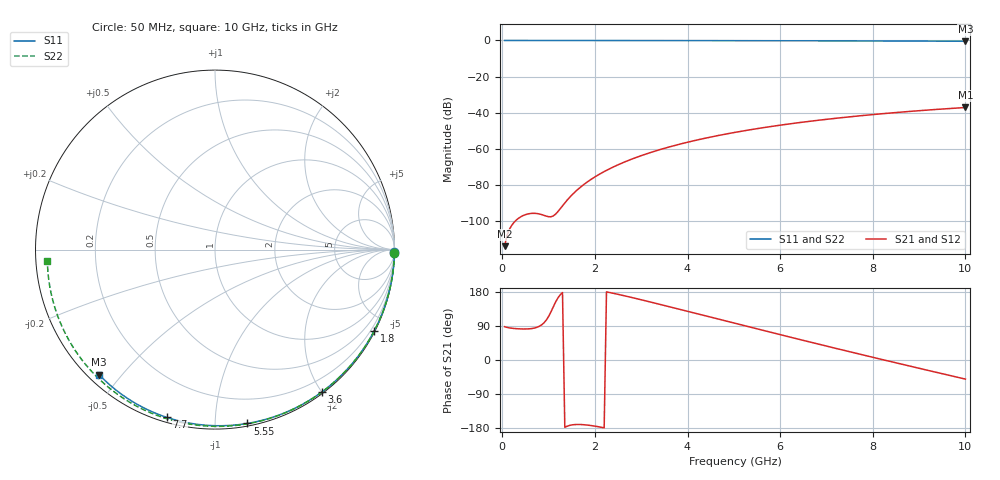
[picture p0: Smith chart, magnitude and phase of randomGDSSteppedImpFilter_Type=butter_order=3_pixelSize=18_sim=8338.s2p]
! freq	dB(S11)	phase(S11)	dB(S12)	phase(S12)
!  dB(S21)	phase(S21)	dB(S22)	phase(S22)
!S-par simulation data
#  GHz  S  DB  R 50
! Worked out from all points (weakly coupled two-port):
!   200 points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, 50 MHz to 10 GHz, reference 50 ohm
!   highest |S21| = -37.11 dB at 10 GHz (marker M1); lowest = -113.9 dB at 50 MHz (marker M2)
!   lowest |S11| = -0.4 dB at 10 GHz (marker M3), VSWR 38.79, Z = 1.54 - j21.9 ohm
!   |S11| at or under -10 dB: nowhere
!   |S22| runs from -0.6 to 0.0 dB; largest |S21 - S12| = 0
!   S11 on the Smith chart (normalised r, x): 50 MHz: open; 1.8 GHz: 0.04, -4.13; 3.6 GHz: 0.02, -2.00; 5.55 GHz: 0.02, -1.20; 7.7 GHz: 0.02, -0.75; 10 GHz: 0.03, -0.44
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0.05  -0.00 -0.8  -113.86 87.9  -113.86 87.9  -0.00 -1.0
0.45  -0.01 -6.9  -96.93 81.8  -96.93 81.8  -0.01 -9.1
0.85  -0.02 -13.0  -96.37 92.8  -96.37 92.8  -0.02 -17.2
1.3  -0.02 -19.8  -91.51 178.0  -91.51 178.0  -0.03 -26.1
1.75  -0.03 -26.5  -79.93 -170.7  -79.93 -170.7  -0.04 -35.0
1.8  -0.03 -27.2  -78.97 -171.2  -78.97 -171.2  -0.05 -35.9
1.95  -0.04 -29.4  -76.33 -173.6  -76.33 -173.6  -0.05 -38.9
2.1  -0.04 -31.6  -73.99 -176.6  -73.99 -176.6  -0.05 -41.8
2.3  -0.04 -34.6  -71.24 178.6  -71.24 178.6  -0.06 -45.6
2.5  -0.05 -37.5  -68.81 173.3  -68.81 173.3  -0.06 -49.4
2.9  -0.06 -43.3  -64.67 161.9  -64.67 161.9  -0.07 -56.9
3.4  -0.07 -50.4  -60.45 146.9  -60.45 146.9  -0.09 -66.1
3.6  -0.07 -53.2  -58.98 140.8  -58.98 140.8  -0.09 -69.8
4.3  -0.09 -62.9  -54.55 119.2  -54.55 119.2  -0.12 -82.2
5.05  -0.11 -72.9  -50.75 96.0  -50.75 96.0  -0.15 -95.1
5.55  -0.13 -79.4  -48.61 80.7  -48.61 80.7  -0.17 -103.5
6.1  -0.15 -86.5  -46.53 63.9  -46.53 63.9  -0.20 -112.6
6.7  -0.18 -94.0  -44.55 45.7  -44.55 45.7  -0.24 -122.3
7.7  -0.24 -106.1  -41.76 15.9  -41.76 15.9  -0.32 -138.3
8.35  -0.29 -113.7  -40.22 -3.1  -40.22 -3.1  -0.38 -148.8
9.2  -0.36 -123.6  -38.49 -27.6  -38.49 -27.6  -0.47 -162.6
10  -0.45 -132.7  -37.11 -50.4  -37.11 -50.4  -0.58 -176.1
